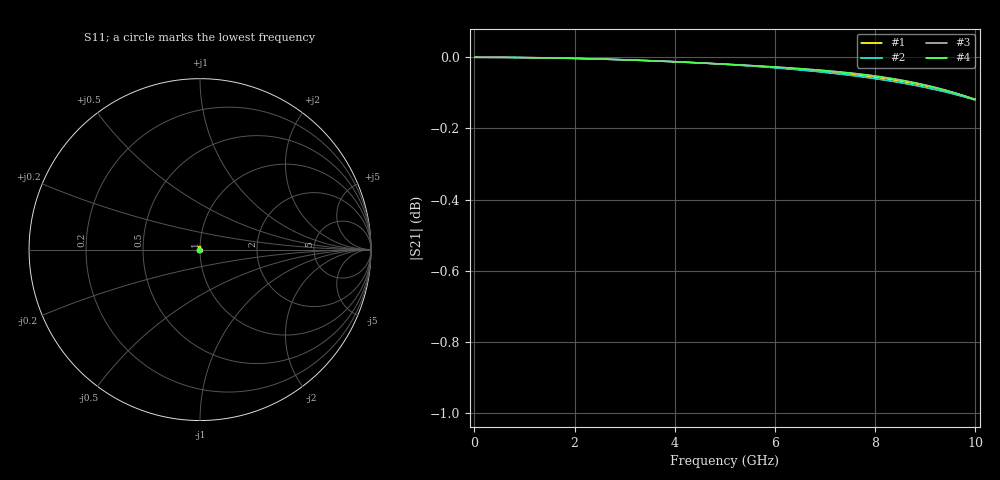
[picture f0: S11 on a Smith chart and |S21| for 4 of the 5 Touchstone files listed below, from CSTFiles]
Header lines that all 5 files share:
! TOUCHSTONE file generated by CST MICROWAVE STUDIO
! Header version: 2024
! Port assignment regex: !\s*Touchstone port\s*([0-9]+)\s*=\s*(CST MWS port|CST DES external port|CST DES block port)\s*(.+)\s* \(\"(.*)\"\)(\s*mode\s*([0-9]+))?.*
! Touchstone port assignment:
! Touchstone port 1 = CST MWS port 1 ("")
! Touchstone port 2 = CST MWS port 2 ("")
# GHz S MA R 50
Fixed: Lamb = 0.05, C = 0, Li = 0, R = 1e-13, W = 20, dlump = 2, er = 2, h = 0.8, w1 = 2.62
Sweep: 10 MHz to 10 GHz
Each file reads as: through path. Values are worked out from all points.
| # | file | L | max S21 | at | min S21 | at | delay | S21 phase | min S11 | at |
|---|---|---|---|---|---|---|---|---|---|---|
| 1 | MSLinew2p62_L25.s2p | 25 | 0.00 dB | 10 MHz | -0.1 dB | 10 GHz | 114 ps | 155 deg at 5.01 GHz | -64.0 dB | 7.05 GHz |
| 2 | MSLinew2p62_L50.s2p | 50 | 0.00 dB | 10 MHz | -0.1 dB | 10 GHz | 226 ps | -44 deg at 5.01 GHz | -85.1 dB | 5.55 GHz |
| 3 | MSLineZp1_1.s2p | 100 | 0.00 dB | 10 MHz | -0.1 dB | 10 GHz | 449 ps | -84 deg at 5.01 GHz | -52.8 dB | 6.01 GHz |
| 4 | MSLineZp1_2.s2p | 100 | 0.00 dB | 10 MHz | -0.1 dB | 10 GHz | 449 ps | -84 deg at 5.01 GHz | -52.8 dB | 6.02 GHz |
| 5 | MSLineZp1_3.s2p | 100 | 0.00 dB | 10 MHz | -0.1 dB | 10 GHz | 449 ps | -84 deg at 5.01 GHz | -52.8 dB | 6.01 GHz |
